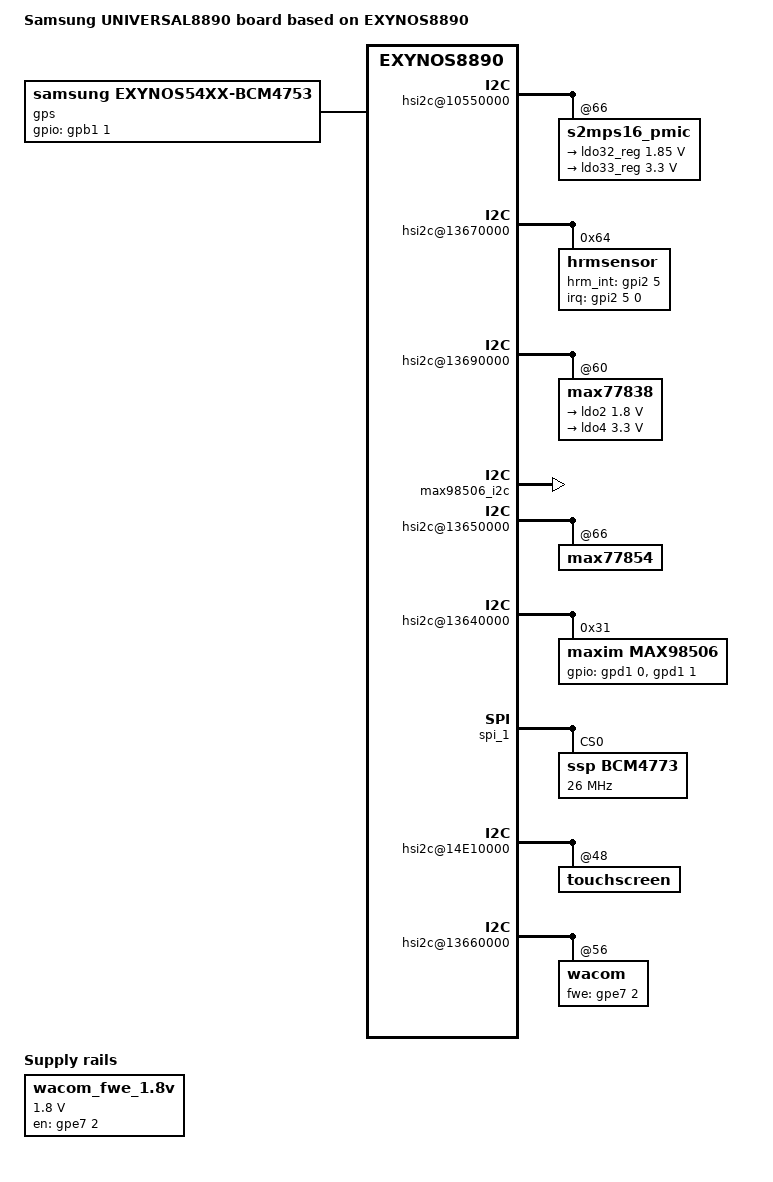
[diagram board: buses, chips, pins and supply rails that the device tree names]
/*
 * SAMSUNG UNIVERSAL8890 board device tree source
 *
 * Copyright (c) 2013 Samsung Electronics Co., Ltd.
 *		http://www.samsung.com
 *
 * This program is free software; you can redistribute it and/or modify
 * it under the terms of the GNU General Public License version 2 as
 * published by the Free Software Foundation.
*/

/dts-v1/;
#include "exynos8890-gracelte_common.dtsi"
#include "exynos8890-grace_gpio_01.dtsi"
#include "exynos8890-gracelte_battery_eur_02.dtsi"
#include "exynos8890-sound-cs47l91.dtsi"
#include "exynos8890-gracelte-sound-cs47l91.dtsi"
#include "exynos8890-luckylte_mst.dtsi"
#include "exynos8890-gracelte_fingerprint-sensor_00.dtsi"
#include "exynos8890-grace_display_01.dtsi"
#include "exynos8890-gracelte_motor.dtsi"
#include "exynos8890-gracelte_svcled.dtsi"
#include "exynos8890-ccic-s2mm003_00.dtsi"

/ {
	model = "Samsung UNIVERSAL8890 board based on EXYNOS8890";
	model_info-chip = <8890>;
	model_info-platform = "android";
	model_info-subtype = "samsung";
	model_info-hw_rev = <5>;
	model_info-hw_rev_end = <6>;
	compatible = "samsung,exynos8890", "samsung,UNIVERSAL8890";

	audio_pdata {
		compatible = "samsung,audio-pdata";

		imp_table_CAN = <
			/* min      max gain */
			   0         13    0
			  14         42    8
			  43        100   11
			 101        200   14
			 201        450   15
			 451       1000   15
			1001 0x7fffffff   11
		>;

		seamless_voicewakeup;
		status = "okay";
	};

	pinctrl@10580000 {
		codec_irq: codec-irq {
			samsung,pins = "gpa2-6";
			samsung,pin-function = <0xf>;
			samsung,pin-pud = <0>;
		};
		max98506_ctrl: max98506-ctl {
			samsung,pins ="gpa2-2";
			samsung,pin-function = <0>;
			samsung,pin-pud = <0>;
			samsung,pin-con-pdn =<2>;
			samsung,pin-pud-pdn = <0>;
		};

		/delete-node/ hrm-irq;
		/delete-node/ hrm-irqsleep;
		/delete-node/ hrm-irqidle;
	};

	pinctrl@10E60000 {
		hrm_irq: hrm-irq {
			samsung,pins = "gpi2-5";
			samsung,pin-function = <0xf>;
			samsung,pin-pud = <0>;
			samsung,pin-drv = <3>;
		};

		hrm_irqsleep: hrm-irqsleep {
			samsung,pins = "gpi2-5";
			samsung,pin-function = <0xf>;
			samsung,pin-pud = <0>;
			samsung,pin-drv = <3>;
		};

		hrm_irqidle: hrm-irqidle {
			samsung,pins = "gpi2-5";
			samsung,pin-function = <0xf>;
			samsung,pin-pud = <0>;
			samsung,pin-drv = <3>;
		};
	};

	hsi2c@10550000{
		status = "okay";

		s2mps16_pmic@66 {
			regulators {
				ldo32_reg: LDO32 {
					regulator-name = "tsp_io";
					regulator-min-microvolt = <1850000>;
					regulator-max-microvolt = <1850000>;
				};

				ldo33_reg: LDO33 {
					regulator-name = "tsp_avdd";
					regulator-min-microvolt = <3300000>;
					regulator-max-microvolt = <3300000>;
				};
			};
		};
	};

	hsi2c@13670000 {
		status = "okay";
		hrmsensor@64 {
			compatible = "hrmsensor";
			reg = <0x64>;
			interrupt-parent = <&gpi2>;
			interrupts = <5 0 0>;
			pinctrl-names = "default", "sleep", "idle";
			pinctrl-0 = <&hrm_irq>;
			pinctrl-1 = <&hrm_irqsleep>;
			pinctrl-2 = <&hrm_irqidle>;
			hrmsensor,hrm_int-gpio = <&gpi2 5 0>;
			hrmsensor,vdd_1p8 = "HRM_1.8V_AP";
			hrmsensor,led_3p3 = "HRM_3.3V_AP";
			hrmsensor,i2c_1p8 = "VDD_NFC_1P8";
		};
	};

	hsi2c@13690000 {
		status = "okay";

		max77838@60 {
			regulators {
				ldo2: LDO2 {
					regulator-name = "HRM_1.8V_AP";
					regulator-min-microvolt = <1800000>;
					regulator-max-microvolt = <1800000>;
				};
				ldo4: LDO4 {
					regulator-name = "HRM_3.3V_AP";
					regulator-min-microvolt = <3300000>;
					regulator-max-microvolt = <3300000>;
				};
			};
		};
	};

	pinctrl@136D0000 {
		max98506_i2c: max98506-i2c {
			samsung,pins = "gpd1-0", "gpd1-1";
			samsung,pin-pud = <0>;
			status = "okay";
		};
	};

	pinctrl@14CC0000 {
		codec_reset: codec-reset {
			samsung,pins ="gpe6-5";
			samsung,pin-function = <1>;
			samsung,pin-pud = <1>;
			samsung,pin-con-pdn =<3>;
			samsung,pin-pud-pdn = <1>;
			samsung,pin-val = <0>;
		};
	};

	hsi2c@13650000 {
		status = "okay";

		max77854@66 {
			status = "okay";
		};
	};

	hsi2c@13640000 {
		status = "okay";
		max98506@31 {
			compatible = "maxim,max98506";
			reg = <0x31>;
			pinctrl-names = "default";
			pinctrl-0 = <&max98506_i2c &max98506_ctrl>;
			gpios = <&gpd1 0 0
				&gpd1 1 0
				>;
			i2c-gpio,delay-us = <2>;
			maxim,platform_type = <0>;
			maxim,spk-gain = <0x14>;
			maxim,sysclk = <12288000>;
			maxim,vmon_slot = <0>;
			maxim,platform_info = <0 0x4000 0x0F010203 0x0FF10203 0x00000000 40>;
			maxim,boost_step = <
						0x0F 0x0F 0x0F 0x0F
						0x0F 0x0F 0x0F 0x0F
						0x0F 0x0F 0x0F 0x0F
						0x0F 0x0F 0x02 0x00
						>;
			maxim,adc_threshold = <7>;
			maxim,registers-of-amp =
				<0x1F 0x00>,
				<0x21 0xC0>,
				<0x2F 0x00>;
		};
	};

	spi_1: spi@14d30000 {
		#address-cells = <1>;
		#size-cells = <0>;

		pinctrl-names = "default";
		pinctrl-0 = <&spi1_mosi_sck_ssn &spi1_miso>;

		num-cs = <1>;
		status = "okay";

		BCM4773@0 {
			compatible = "ssp,BCM4773";
			reg = <0>;
			spi-max-frequency = <26000000>;
			spi-cpol;
			spi-cpha;
			pinctrl-names = "default";
			pinctrl-0 = <&ssp_host_req &ssp_mcu_req &ssp_mcu_resp &ssp_batch_wake_irq>;

			gpio-controller;
			#gpio-cells = <2>;
			ssp-host-req = <&gpa3 4 0x00>;
			ssp-mcu-req = <&gpe6 4 0x00>;
			ssp-mcu-resp = <&gpg0 2 0x00>;
			ssp-batch-wake-irq = <&gpa3 1 0x00>;
			ssp-acc-position = <5>;
			ssp-mag-position = <1>;
			ssp-sns-combination = <0>;
			ssp-ap-rev = <1>;
			ssp-mag-array = <10700 440 130 440 8730 380 130 380 10570>;
			ssp-glass-type = <0>;

			controller-data {
				cs-gpio = <&gpe2 5 0>;
				samsung,spi-feedback-delay = <0>;
				};
			};
	};

	gps {
		compatible = "samsung,exynos54xx-bcm4753";

		pinctrl-names = "default";
		//pinctrl-0 = <&ssp_gps_pwr_en &ssp_host_wake>;
		pinctrl-0 = <&ssp_gps_pwr_en>;

		gpios = <&gpb1 1 0x0
			      //&gpa3 1 0x0
				>;
		status = "okay";
	};

	pinctrl@136D0000 {
		fimc_is_mclk0_fn: fimc_is_mclk0_fn {
			samsung,pins = "gpk0-0";
			samsung,pin-function = <2>;
			samsung,pin-pud = <0>;
			samsung,pin-drv = <1>;
		};

		fimc_is_mclk2_fn: fimc_is_mclk2_fn {
			samsung,pins = "gpk0-2";
			samsung,pin-function = <2>;
			samsung,pin-pud = <0>;
			samsung,pin-drv = <0>;
		};
	};

	pinctrl@15690000 {
		sd2_bus1: sd2-bus-width1 {
			samsung,pins = "gpj0-3";
			samsung,pin-function = <2>;
			samsung,pin-pud = <0>;
			samsung,pin-drv = <2>;
		};

		sd2_bus4: sd2-bus-width4 {
			samsung,pins = "gpj0-4", "gpj0-5", "gpj0-6";
			samsung,pin-function = <2>;
			samsung,pin-pud = <0>;
			samsung,pin-drv = <2>;
		};
	};

	hsi2c@14E10000 {
		touchscreen@48{
			sec,firmware_name = "tsp_sec/y661_grace.fw";
			sec,mis_cal_check = <1>;
			sec,grip_concept = <2>;  	// 01: set_tunning_data, 10:set_grip_dtaa, 11:all
		};
	};

	wacom_fwe_en {
		compatible = "regulator-fixed";
		regulator-name = "wacom_fwe_1.8v";
		regulator-min-microvolt = <1800000>;
		regulator-max-microvolt = <1800000>;
		gpio = <&gpe7 2 0>;
		enable-active-high;
	};

	hsi2c@13660000 {
		wacom@56 {
			wacom,fwe-gpio = <&gpe7 2 0>;
		};
	};
};
